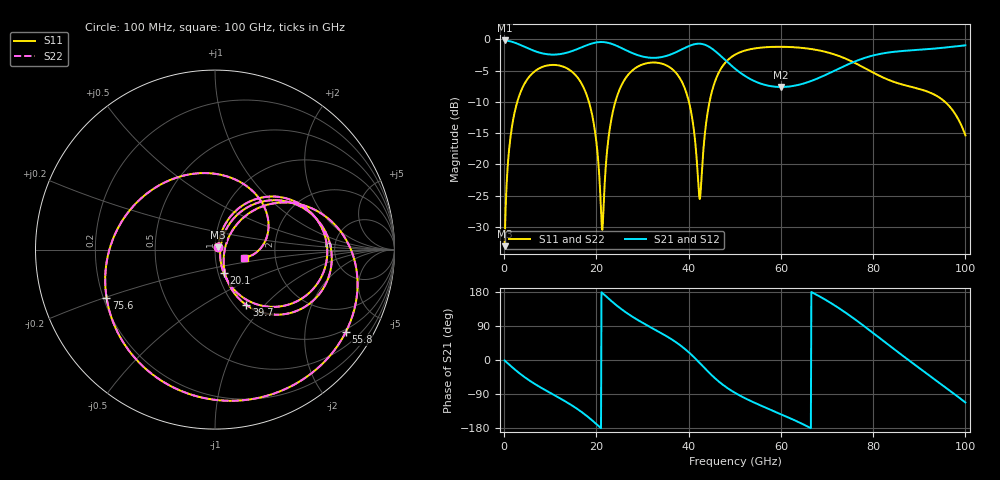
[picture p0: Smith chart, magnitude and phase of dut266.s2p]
! Touchstone file exported from HFSS 2026.1.0
!  File:  C:/ffzhzh/LocalFiles/Ansys_Project_Files/temp_train_TSV_RDL_266_1783674218_33328.aedt
!  Generated:  05:14:09 PM Jul 10, 2026
!  Design:  TSV_RDL
!  Project:  temp_train_TSV_RDL_266_1783674218_33328
! Variables:
!  h_bsmrdl = 3.71um
!  h_ox = 20um
!  h_rdl = 5um
!  h_sub = 55.85um
!  h_tmrdl = 3.65um
!  h_tsv = 55.85um
!  h_via = 3um
!  l_bsmrdl = 632.44um
!  l_sub = 3004.14um
!  l_tmrdl = 145.58um
!  m_sub = 200um
!  pitch = 51.37um
!  r_tsv = 9.7um
!  s_tmrdl = 10um
!  w_bsmrdl = 11.96um
!  w_sub = 500um
!  w_tmrdl = 29.54um
!  x_tsv_center1 = 160.35um
!  x_tsv_center2 = 804.75um
!  x_tsv_center3 = 979.87um
!  x_tsv_center4 = 1624.27um
!  x_tsv_center5 = 1799.39um
!  x_tsv_center6 = 2443.79um
# GHz S MA R 50.000000
! Terminal data exported
! Port[1] = TM_RDL1_1_T1
! Port[2] = TM_RDL5_1_T1
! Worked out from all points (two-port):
!   1000 points, 100 MHz to 100 GHz, reference 50 ohm
!   highest |S21| = -0.16 dB at 100 MHz (marker M1); lowest = -7.6 dB at 60 GHz (marker M2)
!   |S21| within 3 dB of the highest: start of sweep to 47.73 GHz; 77.34 GHz to end of sweep
!   lowest |S11| = -33.1 dB at 100 MHz (marker M3), VSWR 1.05, Z = 51.9 + j1.29 ohm
!   |S11| at or under -10 dB: 18.38 GHz to 24.1 GHz (5.713 GHz wide, 26.9 % of centre); 40.07 GHz to 44.52 GHz (4.457 GHz wide, 10.5 % of centre); 95.61 GHz to end of sweep (the widest 3 of 4)
!   |S22| runs from -33.1 to -1.2 dB; largest |S21 - S12| = 6.5e-14
!   S11 on the Smith chart (normalised r, x): 100 MHz: 1.04, +0.03; 20.1 GHz: 1.06, -0.28; 39.7 GHz: 1.13, -0.80; 55.8 GHz: 0.91, -3.23; 75.6 GHz: 0.21, -0.20; 100 GHz: 1.39, -0.13
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0.1  0.02221 34.2  0.9818 -1.2  0.9818 -1.2  0.02221 34.2
! Gamma 0 0 0 0
! Port Impedance 50 0 50 0
1.6  0.1906 65.9  0.9603 -17.6  0.9603 -17.6  0.1906 65.9
4.4  0.4412 42.1  0.8739 -44.9  0.8739 -44.9  0.4412 42.1
10.6  0.6258 -2.2  0.7567 -90.9  0.7567 -90.9  0.6258 -2.2
16.8  0.4425 -46.1  0.8653 -137.3  0.8653 -137.3  0.4425 -46.1
20.1  0.1396 -69.6  0.948 -170.1  0.948 -170.1  0.1396 -69.7
21.3  0.03 4.2  0.9539 176.7  0.9539 176.7  0.02981 4.2
22.8  0.1824 60.0  0.9347 160.4  0.9347 160.4  0.1823 60.1
24.8  0.3791 45.1  0.8759 140.0  0.8759 140.0  0.3791 45.1
33.4  0.6498 -14.9  0.716 75.5  0.716 75.5  0.6498 -14.9
39.7  0.355 -60.5  0.8739 23.8  0.8739 23.8  0.3551 -60.4
42.4  0.05291 -10.0  0.9249 -7.9  0.9249 -7.9  0.05362 -9.9
45.1  0.3899 40.2  0.8425 -41.3  0.8425 -41.3  0.39 40.1
50.1  0.7574 -0.0  0.5819 -87.0  0.5819 -87.0  0.7574 -0.1
55.8  0.8613 -32.2  0.4411 -121.0  0.4411 -121.0  0.8613 -32.2
60  0.8739 -53.2  0.4167 -143.0  0.4167 -143.0  0.8739 -53.2
66.7  0.837 -90.1  0.4674 178.8  0.4674 178.8  0.837 -90.1
75.6  0.6609 -156.2  0.6565 111.4  0.6565 111.4  0.661 -156.1
83.4  0.4741 130.8  0.7871 39.3  0.7871 39.3  0.4742 131.0
90.7  0.3948 63.0  0.8303 -27.5  0.8303 -27.5  0.3947 63.1
95.7  0.314 19.3  0.8629 -72.3  0.8629 -72.3  0.3139 19.2
100  0.1709 -15.3  0.8971 -112.1  0.8971 -112.1  0.1706 -15.7
